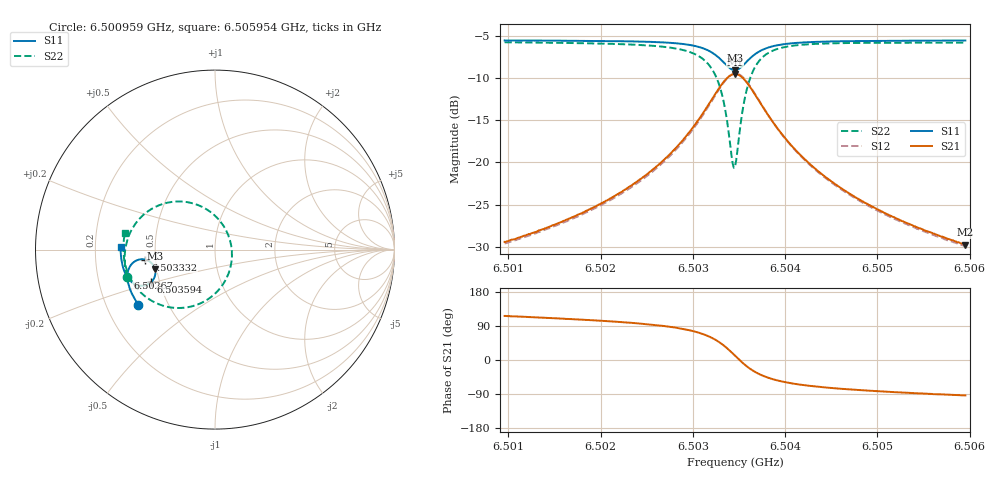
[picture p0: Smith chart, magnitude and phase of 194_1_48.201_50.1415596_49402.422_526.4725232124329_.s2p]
#  HZ  S  RI  R  50.00
! Rohde & Schwarz Vector Network Analyzer
! Rohde-Schwarz,ZNB20-2Port,1311601062101988,3.16
! Created: UTC 3/20/2024, 11:44:45 AM
! freq[Hz]  re:S11  im:S11  re:S21  im:S21  re:S12  im:S12  re:S22  im:S22
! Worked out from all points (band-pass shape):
!   401 points, 6.500959 GHz to 6.505954 GHz, reference 50 ohm
!   highest |S21| = -9.54 dB at 6.503457 GHz (marker M1); lowest = -29.7 dB at 6.505954 GHz (marker M2)
!   |S21| within 3 dB of the highest: 6.503206 GHz to 6.503706 GHz (500 kHz wide, 0.00769 % of centre)
!   lowest |S11| = -9.1 dB at 6.503457 GHz (marker M3), VSWR 2.08, Z = 24.4 - j5.91 ohm
!   |S11| at or under -10 dB: nowhere
!   |S22| runs from -20.6 to -5.8 dB; largest |S21 - S12| = 0.012
!   S11 on the Smith chart (normalised r, x): 6.500959 GHz: 0.34, -0.29; 6.50267 GHz: 0.33, -0.14; 6.503332 GHz: 0.44, -0.06; 6.503594 GHz: 0.45, -0.19; 6.505954 GHz: 0.31, +0.01
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6.5009588e9  -0.4267 -0.3085  -0.015 0.0304  -0.0132 0.0305  -0.4903 -0.1532
6.5017955e9  -0.4625 -0.2466  -0.0142 0.0481  -0.0118 0.0477  -0.5033 -0.0641
6.5022452e9  -0.4783 -0.2067  -0.0113 0.0671  -0.00833 0.0659  -0.5001 -0.000109
6.5026323e9  -0.4874 -0.1638  -0.00206 0.0973  0.00156 0.0951  -0.48 0.0775
6.5026698e9  -0.4879 -0.159  -0.000326 0.1017  0.00349 0.0991  -0.4761 0.0868
6.5029445e9  -0.4837 -0.116  0.0269 0.1445  0.0306 0.14  -0.4197 0.1731
6.5031319e9  -0.4619 -0.0778  0.0817 0.1869  0.0842 0.1807  -0.3145 0.2459
6.5032443e9  -0.4288 -0.0571  0.1518 0.2044  0.1526 0.1981  -0.1882 0.2679
6.5033317e9  -0.3879 -0.0557  0.2324 0.1876  0.2327 0.1825  -0.0493 0.2258
6.5034191e9  -0.3456 -0.0842  0.3096 0.114  0.312 0.1093  0.0736 0.081
6.5034441e9  -0.3377 -0.0983  0.3228 0.0825  0.3258 0.0773  0.0903 0.0219
6.5034566e9  -0.3351 -0.1059  0.327 0.0659  0.3303 0.06  0.094 -0.00917
6.5034816e9  -0.3321 -0.1218  0.3306 0.0318  0.334 0.0247  0.0913 -0.0715
6.503544e9  -0.3395 -0.1595  0.3115 -0.0469  0.3136 -0.0571  0.0341 -0.2082
6.503594e9  -0.3562 -0.1817  0.2773 -0.0928  0.2769 -0.1042  -0.0438 -0.2796
6.5036939e9  -0.3965 -0.2006  0.2005 -0.1356  0.1954 -0.1456  -0.2004 -0.3254
6.5038562e9  -0.445 -0.1929  0.1139 -0.1352  0.1067 -0.1406  -0.3578 -0.2821
6.5040311e9  -0.4737 -0.1717  0.0667 -0.1149  0.0603 -0.1173  -0.4348 -0.2158
6.5042934e9  -0.4961 -0.1402  0.0341 -0.0888  0.0293 -0.0893  -0.4818 -0.1387
6.5046555e9  -0.5113 -0.1022  0.0153 -0.066  0.012 -0.0654  -0.5038 -0.0657
6.5051301e9  -0.521 -0.0582  0.00504 -0.0485  0.00274 -0.0478  -0.5103 0.00213
6.5059544e9  -0.526 0.0118  -0.00202 -0.0326  -0.00346 -0.0318  -0.5026 0.0898
